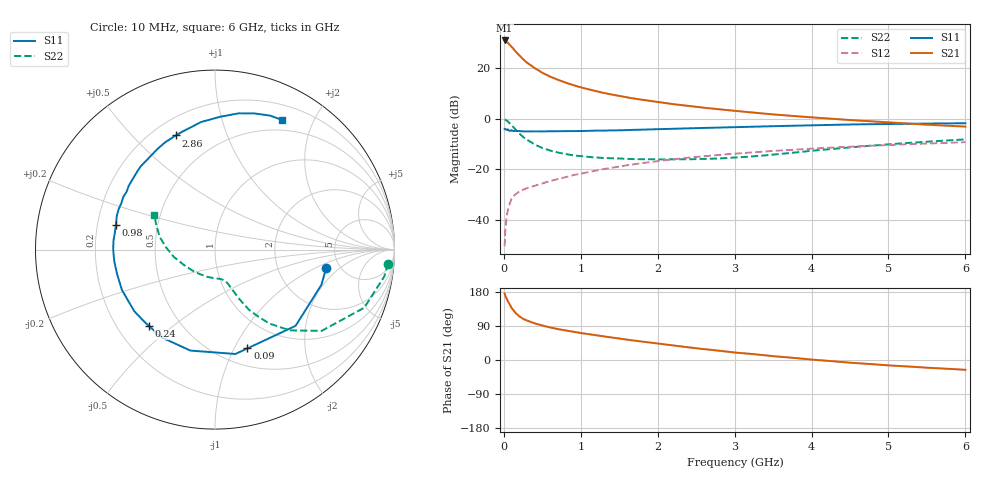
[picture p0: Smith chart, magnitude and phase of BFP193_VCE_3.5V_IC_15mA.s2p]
! Infineon Technologies  Discrete & RF Semiconductors
! BFP193
! VCE = 3.5 V,  IC =  15 mA
! Common Emitter S-Parameters:  Jan 2016
# GHz  S  MA  R  50
!  f  S11  S21  S12  S22
! GHz  MAG  ANG  MAG  ANG  MAG  ANG  MAG  ANG
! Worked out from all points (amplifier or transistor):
!   210 points, 10 MHz to 6 GHz, reference 50 ohm
!   highest |S21| = 31.0 dB at 10 MHz (marker M1)
!   |S21| within 3 dB of that: start of sweep to 115.7 MHz
!   unconditionally stable (mu >= 1): 864.7 MHz to 3.791 GHz
!   at 185 MHz: K = 0.41, MSG = 27.4 dB, |S12| = -29.1 dB
!   at 1.52 GHz: K = 1.08, MAG = 12.1 dB, |S12| = -18.8 dB
!   at 6 GHz: K = 0.92, MSG = 3.1 dB, |S12| = -9.3 dB
!   S11 on the Smith chart (normalised r, x): 10 MHz: 3.89, -1.33; 90 MHz: 0.68, -1.13; 240 MHz: 0.33, -0.41; 980 MHz: 0.28, +0.11; 2.86 GHz: 0.29, +0.67; 6 GHz: 0.37, +1.58
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0.01  0.6277 -9.5  35.47 175.4  0.003 86.3  0.9665 -4.6
0.02  0.6245 -18.3  34.36 169.2  0.0063 75.8  0.9553 -9.0
0.05  0.6181 -43.4  32.23 155.6  0.0151 71.7  0.8923 -21.3
0.09  0.5793 -71.8  27.69 141.6  0.0237 61.7  0.7708 -33.6
0.1  0.5927 -78.9  26.86 137.4  0.0259 60.2  0.7471 -37.3
0.15  0.579 -103.7  21.7 124.1  0.0319 52.0  0.613 -47.2
0.2  0.5722 -121.0  18 115.2  0.0362 48.9  0.5125 -53.6
0.24  0.5628 -131.0  15.63 110.0  0.0387 47.2  0.4505 -56.8
0.3  0.5658 -142.7  12.92 103.8  0.0423 46.7  0.3839 -60.6
0.4  0.5651 -156.4  10.05 96.6  0.0471 47.4  0.3088 -63.7
0.5  0.5624 -165.7  8.112 90.8  0.0522 48.9  0.2629 -65.6
0.6  0.565 -173.4  6.841 85.9  0.0585 50.1  0.2341 -67.1
0.7  0.5672 -179.8  5.92 81.6  0.0636 51.6  0.2144 -68.4
0.98  0.5688 166.1  4.272 71.9  0.0808 53.4  0.1831 -72.3
1.02  0.5714 164.3  4.11 70.6  0.0832 53.5  0.1804 -73.1
1.4  0.5892 150.1  3.013 59.4  0.1067 53.0  0.1654 -81.0
2.02  0.6222 131.1  2.117 43.0  0.1463 49.1  0.1568 -99.4
2.86  0.6725 108.9  1.508 23.1  0.1959 40.8  0.1654 -131.1
3.1  0.6862 103.8  1.389 18.1  0.2089 38.3  0.174 -140.1
4.1  0.7461 86.1  1.039 -0.4  0.261 27.7  0.2392 -172.6
5.1  0.7927 72.6  0.832 -15.3  0.3059 17.0  0.32 165.6
6  0.8133 62.5  0.699 -25.9  0.3437 7.4  0.39 150.0
